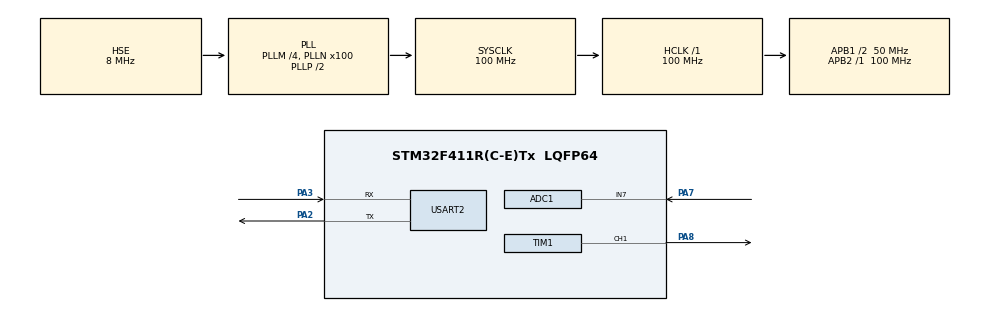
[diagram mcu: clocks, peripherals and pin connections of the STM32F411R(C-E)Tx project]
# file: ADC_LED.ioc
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ADC1.Channel-0\#ChannelRegularConversion=ADC_CHANNEL_7
ADC1.NbrOfConversionFlag=1
ADC1.Rank-0\#ChannelRegularConversion=1
ADC1.SamplingTime-0\#ChannelRegularConversion=ADC_SAMPLETIME_3CYCLES
ADC1.master=1
Mcu.Family=STM32F4
Mcu.Name=STM32F411R(C-E)Tx
Mcu.Package=LQFP64
NVIC.PriorityGroup=NVIC_PRIORITYGROUP_4
PA13.Mode=Serial_Wire
PA13.Signal=SYS_JTMS-SWDIO
PA14.Mode=Serial_Wire
PA14.Signal=SYS_JTCK-SWCLK
PA2.Mode=Asynchronous
PA2.Signal=USART2_TX
PA3.Mode=Asynchronous
PA3.Signal=USART2_RX
PA7.Signal=ADCx_IN7
PA8.Signal=S_TIM1_CH1
PH0\ -\ OSC_IN.Mode=HSE-External-Oscillator
PH0\ -\ OSC_IN.Signal=RCC_OSC_IN
PH1\ -\ OSC_OUT.Mode=HSE-External-Oscillator
PH1\ -\ OSC_OUT.Signal=RCC_OSC_OUT
ProjectManager.HeapSize=0x200
ProjectManager.StackSize=0x400
ProjectManager.TargetToolchain=STM32CubeIDE
RCC.48MHZClocksFreq_Value=50000000
RCC.AHBFreq_Value=100000000
RCC.APB1CLKDivider=RCC_HCLK_DIV2
RCC.APB1Freq_Value=50000000
RCC.APB1TimFreq_Value=100000000
RCC.APB2Freq_Value=100000000
RCC.APB2TimFreq_Value=100000000
RCC.CortexFreq_Value=100000000
RCC.HCLKFreq_Value=100000000
RCC.HSE_VALUE=8000000
RCC.HSI_VALUE=16000000
RCC.LSE_VALUE=32768
RCC.PLLM=4
RCC.PLLN=100
RCC.PLLSourceVirtual=RCC_PLLSOURCE_HSE
RCC.SYSCLKFreq_VALUE=100000000
RCC.SYSCLKSource=RCC_SYSCLKSOURCE_PLLCLK
RCC.VCOOutputFreq_Value=200000000
SH.ADCx_IN7.0=ADC1_IN7,IN7
SH.S_TIM1_CH1.0=TIM1_CH1,PWM Generation1 CH1
TIM1.Channel-PWM\ Generation1\ CH1=TIM_CHANNEL_1
TIM1.Period=4000-1
TIM1.Prescaler=100-1
USART2.VirtualMode=VM_ASYNC
VP_TIM1_VS_ClockSourceINT.Mode=Internal
board=custom

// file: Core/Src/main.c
/* USER CODE BEGIN Header */
/**
  ******************************************************************************
  * @file           : main.c
  * @brief          : Main program body
  ******************************************************************************
  * @attention
  *
  * Copyright (c) 2023 STMicroelectronics.
  * All rights reserved.
  *
  * This software is licensed under terms that can be found in the LICENSE file
  * in the root directory of this software component.
  * If no LICENSE file comes with this software, it is provided AS-IS.
  *
  ******************************************************************************
  */
/* USER CODE END Header */
#include "main.h"
#include "adc.h"
#include "tim.h"
#include "usart.h"
#include "gpio.h"

/* USER CODE BEGIN Includes */
#include "stdio.h"
/* USER CODE END Includes */

/* USER CODE BEGIN PM */
#ifdef __GNUC__
  /* With GCC, small printf (option LD Linker->Libraries->Small printf
     set to 'Yes') calls __io_putchar() */
  #define PUTCHAR_PROTOTYPE int __io_putchar(int ch)
#else
  #define PUTCHAR_PROTOTYPE int fputc(int ch, FILE *f)
#endif /* __GNUC__ */
PUTCHAR_PROTOTYPE
{
  /* Place your implementation of fputc here */
  /* e.g. write a character to the EVAL_COM1 and Loop until the end of transmission */
  HAL_UART_Transmit(&huart2, (uint8_t *)&ch, 1, 0xFFFF);

  return ch;
}
/* USER CODE END PM */

/* USER CODE BEGIN PV */
uint16_t adcValue;
float adcVoltage;
/* USER CODE END PV */

void SystemClock_Config(void);

int main(void)
{

  /* MCU Configuration--------------------------------------------------------*/

  /* Reset of all peripherals, Initializes the Flash interface and the Systick. */
  HAL_Init();

  /* Configure the system clock */
  SystemClock_Config();

  /* Initialize all configured peripherals */
  MX_GPIO_Init();
  MX_ADC1_Init();
  MX_TIM1_Init();
  MX_USART2_UART_Init();
  /* USER CODE BEGIN 2 */
  HAL_TIM_PWM_Start(&htim1, TIM_CHANNEL_1);
  /* USER CODE END 2 */

  /* Infinite loop */
  while (1)
  {

    /* USER CODE BEGIN 3 */
    HAL_ADC_Start(&hadc1);
        HAL_ADC_PollForConversion(&hadc1,500);
        adcValue = HAL_ADC_GetValue(&hadc1);
        adcVoltage = 5*((float)adcValue/4095);
        printf("ADC_VALUE -> %d\r\n",adcValue);
        TIM1->CCR1=adcValue;
        printf("ADC_Voltage -> %1.2f\r\r\n",adcVoltage);
        HAL_Delay(500);
  }
  /* USER CODE END 3 */
}

void SystemClock_Config(void)
{
  RCC_OscInitTypeDef RCC_OscInitStruct = {0};
  RCC_ClkInitTypeDef RCC_ClkInitStruct = {0};

  /** Configure the main internal regulator output voltage
  */
  __HAL_RCC_PWR_CLK_ENABLE();
  __HAL_PWR_VOLTAGESCALING_CONFIG(PWR_REGULATOR_VOLTAGE_SCALE1);

  /** Initializes the RCC Oscillators according to the specified parameters
  * in the RCC_OscInitTypeDef structure.
  */
  RCC_OscInitStruct.OscillatorType = RCC_OSCILLATORTYPE_HSE;
  RCC_OscInitStruct.HSEState = RCC_HSE_ON;
  RCC_OscInitStruct.PLL.PLLState = RCC_PLL_ON;
  RCC_OscInitStruct.PLL.PLLSource = RCC_PLLSOURCE_HSE;
  RCC_OscInitStruct.PLL.PLLM = 4;
  RCC_OscInitStruct.PLL.PLLN = 100;
  RCC_OscInitStruct.PLL.PLLP = RCC_PLLP_DIV2;
  RCC_OscInitStruct.PLL.PLLQ = 4;
  if (HAL_RCC_OscConfig(&RCC_OscInitStruct) != HAL_OK)
  {
    Error_Handler();
  }

  /** Initializes the CPU, AHB and APB buses clocks
  */
  RCC_ClkInitStruct.ClockType = RCC_CLOCKTYPE_HCLK|RCC_CLOCKTYPE_SYSCLK
                              |RCC_CLOCKTYPE_PCLK1|RCC_CLOCKTYPE_PCLK2;
  RCC_ClkInitStruct.SYSCLKSource = RCC_SYSCLKSOURCE_PLLCLK;
  RCC_ClkInitStruct.AHBCLKDivider = RCC_SYSCLK_DIV1;
  RCC_ClkInitStruct.APB1CLKDivider = RCC_HCLK_DIV2;
  RCC_ClkInitStruct.APB2CLKDivider = RCC_HCLK_DIV1;

  if (HAL_RCC_ClockConfig(&RCC_ClkInitStruct, FLASH_LATENCY_3) != HAL_OK)
  {
    Error_Handler();
  }
}

void Error_Handler(void)
{
  __disable_irq();
  while (1)
  {
  }
}
